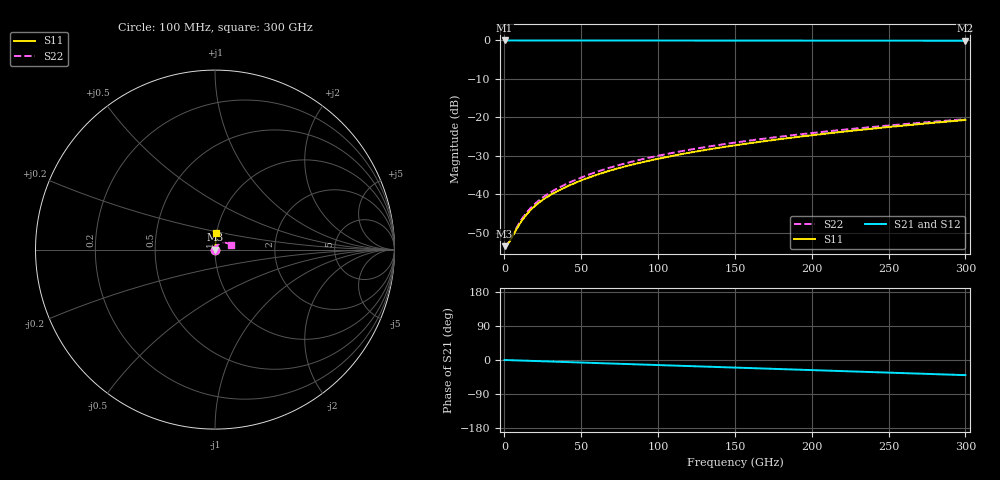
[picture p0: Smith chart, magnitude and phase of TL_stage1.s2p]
#  Hz  S  RI  R  50
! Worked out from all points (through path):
!   3000 points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, 100 MHz to 300 GHz, reference 50 ohm
!   highest |S21| = -0.02 dB at 100 MHz (marker M1); lowest = -0.1 dB at 300 GHz (marker M2)
!   group delay of S21, straight-line fit = 369 fs
!   lowest |S11| = -53.5 dB at 100 MHz (marker M3), VSWR 1.00, Z = 50.2 + j0.00351 ohm
!   |S11| at or under -10 dB: start of sweep to end of sweep
!   |S22| runs from -53.5 to -20.5 dB; largest |S21 - S12| = 0.00095
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1e8  0.00211 3.49e-05  0.9979 -0.00024  0.9979 -0.00024  0.00213 3.64e-05
1.5e9  0.00212 0.000523  0.9979 -0.0036  0.9979 -0.0036  0.00213 0.000546
2.9e9  0.00213 0.00101  0.9978 -0.00695  0.9978 -0.00695  0.00216 0.00105
4.3e9  0.00216 0.00149  0.9978 -0.0103  0.9978 -0.0103  0.00219 0.00156
8.8e9  0.00229 0.00302  0.9975 -0.021  0.9975 -0.021  0.00241 0.00315
1.26e10  0.00245 0.00426  0.9971 -0.03  0.9971 -0.03  0.00268 0.00444
1.63e10  0.00263 0.00541  0.9966 -0.0387  0.9966 -0.0387  0.003 0.00563
2.04e10  0.00283 0.00662  0.9959 -0.0482  0.9959 -0.0482  0.0034 0.00689
2.6e10  0.00307 0.00819  0.995 -0.0611  0.995 -0.0611  0.00398 0.00852
3.26e10  0.00327 0.00997  0.9937 -0.0763  0.9938 -0.0763  0.00468 0.0103
4.07e10  0.00342 0.0122  0.992 -0.0949  0.992 -0.0949  0.00559 0.0125
5.01e10  0.00352 0.0147  0.9896 -0.1165  0.9896 -0.1165  0.00677 0.0151
6.08e10  0.00364 0.0177  0.9861 -0.1411  0.9862 -0.1411  0.00839 0.0179
7.23e10  0.00379 0.0209  0.9817 -0.1672  0.9818 -0.1673  0.0104 0.0208
8.53e10  0.00391 0.0245  0.976 -0.1967  0.976 -0.1967  0.0131 0.0239
1.001e11  0.00399 0.0287  0.9684 -0.23  0.9685 -0.2301  0.0165 0.0271
1.234e11  0.00412 0.0353  0.9541 -0.2818  0.9542 -0.2819  0.0227 0.0315
1.501e11  0.00423 0.0431  0.9343 -0.3401  0.9345 -0.3403  0.031 0.0353
1.739e11  0.00438 0.0502  0.9136 -0.3909  0.9137 -0.3912  0.0393 0.0375
2.001e11  0.00462 0.0583  0.8875 -0.4454  0.8877 -0.4458  0.0493 0.0385
2.501e11  0.00558 0.0746  0.8287 -0.5445  0.8288 -0.5452  0.0698 0.0355
3e11  0.00761 0.092  0.7587 -0.6357  0.7585 -0.6366  0.091 0.0258
